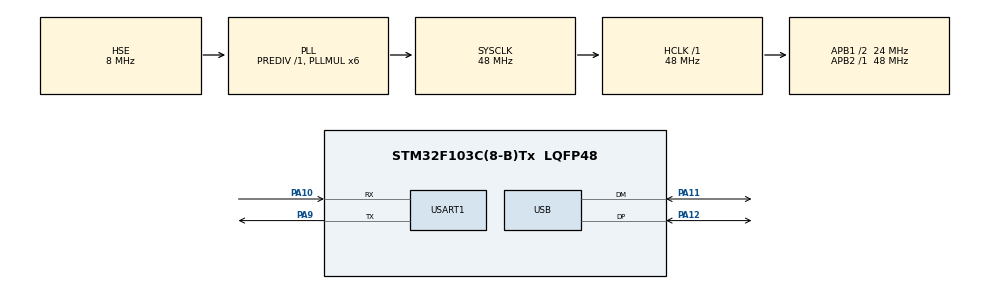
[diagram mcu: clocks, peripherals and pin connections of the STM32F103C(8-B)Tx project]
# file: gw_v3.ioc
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Mcu.Family=STM32F1
Mcu.Name=STM32F103C(8-B)Tx
Mcu.Package=LQFP48
NVIC.PriorityGroup=NVIC_PRIORITYGROUP_4
NVIC.TIM2_IRQn=true\:3\:0\:true\:false\:true\:true\:true\:true
NVIC.USART1_IRQn=true\:0\:0\:false\:false\:true\:true\:true\:true
NVIC.USB_LP_CAN1_RX0_IRQn=true\:0\:0\:false\:false\:true\:false\:true\:true
PA10.Mode=Asynchronous
PA10.Signal=USART1_RX
PA11.Mode=Device
PA11.Signal=USB_DM
PA12.Mode=Device
PA12.Signal=USB_DP
PA13.Mode=Serial_Wire
PA13.Signal=SYS_JTMS-SWDIO
PA14.Mode=Serial_Wire
PA14.Signal=SYS_JTCK-SWCLK
PA9.Mode=Asynchronous
PA9.Signal=USART1_TX
PD0-OSC_IN.Mode=HSE-External-Oscillator
PD0-OSC_IN.Signal=RCC_OSC_IN
PD1-OSC_OUT.Mode=HSE-External-Oscillator
PD1-OSC_OUT.Signal=RCC_OSC_OUT
ProjectManager.HeapSize=0x200
ProjectManager.StackSize=0x400
ProjectManager.TargetToolchain=STM32CubeIDE
RCC.AHBFreq_Value=48000000
RCC.APB1CLKDivider=RCC_HCLK_DIV2
RCC.APB1Freq_Value=24000000
RCC.APB1TimFreq_Value=48000000
RCC.APB2Freq_Value=48000000
RCC.APB2TimFreq_Value=48000000
RCC.HCLKFreq_Value=48000000
RCC.PLLMUL=RCC_PLL_MUL6
RCC.SYSCLKFreq_VALUE=48000000
RCC.SYSCLKSource=RCC_SYSCLKSOURCE_PLLCLK
RCC.USBFreq_Value=48000000
TIM2.Period=6000
TIM2.Prescaler=48000-1
USART1.VirtualMode=VM_ASYNC
USB_DEVICE.CLASS_NAME_FS=CDC
USB_DEVICE.VirtualMode=Cdc
USB_DEVICE.VirtualModeFS=Cdc_FS
VP_TIM2_VS_ClockSourceINT.Mode=Internal
VP_USB_DEVICE_VS_USB_DEVICE_CDC_FS.Mode=CDC_FS
board=custom

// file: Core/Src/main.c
/* USER CODE BEGIN Header */
/**
  ******************************************************************************
  * @file           : main.c
  * @brief          : Main program body
  ******************************************************************************
  * @attention
  *
  * Copyright (c) 2024 STMicroelectronics.
  * All rights reserved.
  *
  * This software is licensed under terms that can be found in the LICENSE file
  * in the root directory of this software component.
  * If no LICENSE file comes with this software, it is provided AS-IS.
  *
  ******************************************************************************
  */
/* USER CODE END Header */
#include "main.h"
#include "usb_device.h"

/* USER CODE BEGIN Includes */
#include "usbd_cdc_if.h"
#include "stdio.h"
#include "string.h"
#include <stdlib.h>
/* USER CODE END Includes */

/* USER CODE BEGIN PTD */
uint8_t *USB_data ;
uint8_t USB_rxbuffer[10];
uint8_t USB_txbuffer[40];

uint8_t RS_txBuffer[10];
uint8_t RS_rxBuffer[40];

uint8_t rs_temp[2];
uint8_t rs_inx=0;

typedef struct {
	uint8_t hour;
	uint8_t min;
	uint8_t sec;
	uint16_t CO_ppm;
	uint16_t CO2_ppm;
}PPM;

PPM ppm_data_1;
PPM ppm_data_2;
int time_data_n1;
int time_data_n2;
int receive_node_tong_flag=1;
int node_tong_to_node_1_error=0;
int node_tong_to_node_2_error=0;
int ppm2_time_temp;
int ppm1_time_temp;
/* USER CODE END PTD */

/* USER CODE BEGIN PM */
#define T3 6000
#define T2 3000
#define T1 1000
/* USER CODE END PM */

TIM_HandleTypeDef htim2;

UART_HandleTypeDef huart1;

/* USER CODE BEGIN PV */
uint8_t calculate_lrc(uint8_t *ascii_data, uint16_t length) {
    uint8_t lrc = 0;

    // Kiểm tra nếu chiều dài mảng là hợp lệ
    if (length < 2) {
        return 0;  // Trả về 0 nếu chiều dài không hợp lệ
    }

    // Mỗi byte nhị phân được biểu diễn bằng 2 ký tự ASCII
    for (uint16_t i = 0; i < length; i += 2) {
        // Chuyển đổi 2 ký tự ASCII thành 1 byte nhị phân
        char hex_byte[3] = {ascii_data[i], ascii_data[i + 1], '\0'};
        uint8_t byte_value = (uint8_t)strtol(hex_byte, NULL, 16);

        // Cộng giá trị vào tổng LRC
        lrc += byte_value;
    }

    // Lấy phần bù 2 (2's complement)
    lrc = (uint8_t)(-((int8_t)lrc));
    return lrc;
}

uint8_t check_lrc(uint8_t *ascii_data, uint16_t length, char* ascii_lrc)
{

    // Tính LRC từ dữ liệu
    uint8_t calculated_lrc = calculate_lrc(ascii_data, length);

    char hex_byte[3] = {ascii_lrc[0], ascii_lrc[1], '\0'};
    uint8_t received_lrc = (uint8_t)strtol(hex_byte, NULL, 16);

    // So sánh LRC tính toán và LRC nhận được
    if (calculated_lrc == received_lrc)
    {
    	return 1;
    }
    else
    	return 0;
}
// Mã hóa LRC thành chuỗi ASCII
void hexdec_to_ascii(uint8_t hexdec, char *ascii_out)
{
    sprintf(ascii_out, "%02X", hexdec); // Mã hóa thành 2 ký tự HEX ASCII
}
// Gửi lệnh tới Slave với địa chỉ ID
void RS485_SendCommand(uint8_t slaveID, uint8_t command)
{
	RS_txBuffer[0] = ':';
	hexdec_to_ascii(slaveID,(char*)&RS_txBuffer[1]);
	hexdec_to_ascii(command,(char*)&RS_txBuffer[3]);
	uint8_t lrc = calculate_lrc(&RS_txBuffer[1], 4);
	hexdec_to_ascii(lrc,(char*)&RS_txBuffer[5]);
	RS_txBuffer[7]=0x0D ;
	RS_txBuffer[8]=0x0A ;
    HAL_UART_Transmit(&huart1, RS_txBuffer, 10, HAL_MAX_DELAY);
}
void decode_ppm2_ver3 (char *RS_rxBuffer,PPM *ppm, uint8_t inx) // inx=5 (node1) inx=19(node2)
{
	char hour_buf[3] = {0}; // Lưu chuỗi th�?i gian
	char min_buf[3] = {0};
	char sec_buf[3] = {0};
	char co_high[3] = {0};   // Lưu chuỗi giá trị CO
	char co_low[3] = {0};   // Lưu chuỗi giá trị CO
	char co2_high[3] = {0};   // Lưu chuỗi giá trị CO
	char co2_low[3] = {0};  // Lưu chuỗi giá trị CO2
	uint16_t CO;
	uint16_t CO2;
	uint8_t ho;
	uint8_t mi;
	uint8_t se;
	// Tách chuỗi từ buffer
    hour_buf[0] = RS_rxBuffer[inx];
    hour_buf[1] = RS_rxBuffer[inx+1];
    hour_buf[2] = '\0';

    min_buf[0] = RS_rxBuffer[inx+2];
    min_buf[1] = RS_rxBuffer[inx+3];
    min_buf[2] = '\0';

    sec_buf[0] = RS_rxBuffer[inx+4];
    sec_buf[1] = RS_rxBuffer[inx+5];
    sec_buf[2] = '\0';

    co_high[0] = RS_rxBuffer[inx+6];
    co_high[1] = RS_rxBuffer[inx+7];
    co_high[2] = '\0';

    co_low[0] = RS_rxBuffer[inx+8];
    co_low[1] = RS_rxBuffer[inx+9];
    co_low[2] = '\0';

    co2_high[0] = RS_rxBuffer[inx+10];
    co2_high[1] = RS_rxBuffer[inx+11];
    co2_high[2] = '\0';

    co2_low[0] = RS_rxBuffer[inx+12];
    co2_low[1] = RS_rxBuffer[inx+13];
    co2_low[2] = '\0';

	ho = (uint8_t)strtol(hour_buf, NULL, 16);
	mi = (uint8_t)strtol(min_buf, NULL, 16);
	se = (uint8_t)strtol(sec_buf, NULL, 16);
	CO = ((uint8_t)(strtol(co_high, NULL, 16)) << 8) | ((uint8_t)(strtol(co_low, NULL, 16)));
	CO2 = ((uint8_t)(strtol(co2_high, NULL, 16)) << 8) | ((uint8_t)(strtol(co2_low, NULL, 16)));

	ppm->hour = ho;
    ppm->min = mi;
	ppm->sec = se;
	ppm->CO_ppm = CO;
    ppm->CO2_ppm = CO2;

}
void make_time(PPM *ppm, int *time_data)
{
	*time_data = (ppm->hour)*10000 + (ppm->min)*100 + (ppm->sec);
}
void USB_data_to_send()
{
	sprintf((char*)(&(USB_txbuffer[2])), "%02d%02d%02d%5d%5d%02d%02d%02d%5d%5d"
	,(int)ppm_data_1.hour, (int)ppm_data_1.min,(int) ppm_data_1.sec,(int) ppm_data_1.CO_ppm,ppm_data_1.CO2_ppm
	, (int)ppm_data_2.hour, (int)ppm_data_2.min, (int)ppm_data_2.sec, (int)ppm_data_2.CO_ppm, (int)ppm_data_2.CO2_ppm);
	USB_txbuffer[38]='\r';
	USB_txbuffer[39]='\n';
}
void USB_data_miss_to_send()
{
	char hour_buf1[3] = {0}; // Lưu chuỗi th�?i gian
	char min_buf1[3] = {0};
	char sec_buf1[3] = {0};
	char co_high1[3] = {0};   // Lưu chuỗi giá trị CO
	char co_low1[3] = {0};   // Lưu chuỗi giá trị CO
	char co2_high1[3] = {0};   // Lưu chuỗi giá trị CO
	char co2_low1[3] = {0};  // Lưu chuỗi giá trị CO2
	uint16_t CO1;
	uint16_t CO21;
	uint8_t ho1;
	uint8_t mi1;
	uint8_t se1;

	char hour_buf2[3] = {0}; // Lưu chuỗi th�?i gian
	char min_buf2[3] = {0};
	char sec_buf2[3] = {0};
	char co_high2[3] = {0};   // Lưu chuỗi giá trị CO
	char co_low2[3] = {0};   // Lưu chuỗi giá trị CO
	char co2_high2[3] = {0};   // Lưu chuỗi giá trị CO
	char co2_low2[3] = {0};  // Lưu chuỗi giá trị CO2
	uint16_t CO2;
	uint16_t CO22;
	uint8_t ho2;
	uint8_t mi2;
	uint8_t se2;

	// Tách chuỗi từ buffer
	hour_buf1[0] = RS_rxBuffer[5];
	hour_buf1[1] = RS_rxBuffer[5+1];
	hour_buf1[2] = '\0';

	min_buf1[0] = RS_rxBuffer[5+2];
	min_buf1[1] = RS_rxBuffer[5+3];
	min_buf1[2] = '\0';

	sec_buf1[0] = RS_rxBuffer[5+4];
	sec_buf1[1] = RS_rxBuffer[5+5];
	sec_buf1[2] = '\0';

	co_high1[0] = RS_rxBuffer[5+6];
	co_high1[1] = RS_rxBuffer[5+7];
	co_high1[2] = '\0';

	co_low1[0] = RS_rxBuffer[5+8];
	co_low1[1] = RS_rxBuffer[5+9];
	co_low1[2] = '\0';

	co2_high1[0] = RS_rxBuffer[5+10];
	co2_high1[1] = RS_rxBuffer[5+11];
	co2_high1[2] = '\0';

	co2_low1[0] = RS_rxBuffer[5+12];
	co2_low1[1] = RS_rxBuffer[5+13];
	co2_low1[2] = '\0';
// Tách chuỗi từ buffer
	hour_buf2[0] = RS_rxBuffer[19];
	hour_buf2[1] = RS_rxBuffer[19+1];
	hour_buf2[2] = '\0';

	min_buf2[0] = RS_rxBuffer[19+2];
	min_buf2[1] = RS_rxBuffer[19+3];
	min_buf2[2] = '\0';

	sec_buf2[0] = RS_rxBuffer[19+4];
	sec_buf2[1] = RS_rxBuffer[19+5];
	sec_buf2[2] = '\0';

	co_high2[0] = RS_rxBuffer[19+6];
	co_high2[1] = RS_rxBuffer[19+7];
	co_high2[2] = '\0';

	co_low2[0] = RS_rxBuffer[19+8];
	co_low2[1] = RS_rxBuffer[19+9];
	co_low2[2] = '\0';

	co2_high2[0] = RS_rxBuffer[19+10];
	co2_high2[1] = RS_rxBuffer[19+11];
	co2_high2[2] = '\0';

	co2_low2[0] = RS_rxBuffer[19+12];
	co2_low2[1] = RS_rxBuffer[19+13];
	co2_low2[2] = '\0';
	ho1 = (uint8_t)strtol(hour_buf1, NULL, 16);
	mi1 = (uint8_t)strtol(min_buf1, NULL, 16);
	se1 = (uint8_t)strtol(sec_buf1, NULL, 16);
	CO1 = ((uint8_t)(strtol(co_high1, NULL, 16)) << 8) | ((uint8_t)(strtol(co_low1, NULL, 16)));
	CO21 = ((uint8_t)(strtol(co2_high1, NULL, 16)) << 8) | ((uint8_t)(strtol(co2_low1, NULL, 16)));

	ho2 = (uint8_t)strtol(hour_buf2, NULL, 16);
	mi2 = (uint8_t)strtol(min_buf2, NULL, 16);
	se2 = (uint8_t)strtol(sec_buf2, NULL, 16);
	CO2 = ((uint8_t)(strtol(co_high2, NULL, 16)) << 8) | ((uint8_t)(strtol(co_low2, NULL, 16)));
	CO22 = ((uint8_t)(strtol(co2_high2, NULL, 16)) << 8) | ((uint8_t)(strtol(co2_low2, NULL, 16)));

	sprintf((char*)(&(USB_txbuffer[2])), "%02d%02d%02d%5d%5d%02d%02d%02d%5d%5d"
	,(int)ho1, (int)mi1,(int)se1,(int) CO1,CO21
	, (int)ho2, (int)mi2, (int)se2, (int)CO2, (int)CO22);
	USB_txbuffer[38]='\r';
	USB_txbuffer[39]='\n';

}
int check_disconnected (int node)
{
	if(node==1)
	{
		if(time_data_n1 -ppm1_time_temp ==0)
		{
			return 0;
		}
		else
		{
			return 1;
		}
	}
	else
	{
		if(time_data_n2 - ppm2_time_temp ==0)
		{
			return 0;
		}
		else
		{
			return 1;
		}
	}
}
void Change_Time_Read_Data()
{
	if(ppm_data_1.CO2_ppm <=1000 && ppm_data_1.CO_ppm <=25 && ppm_data_2.CO2_ppm <=1000 && ppm_data_2.CO_ppm <=25)
	{
    	HAL_TIM_Base_Stop_IT(&htim2);                  // Dừng timer
    	__HAL_TIM_SET_AUTORELOAD(&htim2, T3);     // Cập nhật chu kỳ
    	HAL_TIM_Base_Start_IT(&htim2);                 // Khởi động lại timer
	}
	else if(ppm_data_1.CO2_ppm >=2000 || ppm_data_1.CO_ppm >=50 || ppm_data_2.CO2_ppm >=2000 || ppm_data_2.CO_ppm >=50)
	{
    	HAL_TIM_Base_Stop_IT(&htim2);                  // Dừng timer
    	__HAL_TIM_SET_AUTORELOAD(&htim2, T1);     // Cập nhật chu kỳ
    	HAL_TIM_Base_Start_IT(&htim2);                 // Khởi động lại timer
	}
	else
	{
    	HAL_TIM_Base_Stop_IT(&htim2);                  // Dừng timer
    	__HAL_TIM_SET_AUTORELOAD(&htim2, T2);     // Cập nhật chu kỳ
    	HAL_TIM_Base_Start_IT(&htim2);                 // Khởi động lại timer
	}
}
// gửi lệnh đ�?c v�? node đo theo th�?i gian
void HAL_TIM_PeriodElapsedCallback(TIM_HandleTypeDef *htim)
{
    if (htim->Instance == TIM2)  // Kiểm tra nếu ngắt từ Timer 2
    {
    	if(receive_node_tong_flag==1)
    	{
			if(node_tong_to_node_1_error==1 && node_tong_to_node_2_error==0)
			{
				RS485_SendCommand(0x11, 0x21);  // Gửi lệnh 0x21 tới
				receive_node_tong_flag=0;
			}
			else if (node_tong_to_node_1_error==0 && node_tong_to_node_2_error==1)
			{
				RS485_SendCommand(0x11, 0x22);  // Gửi lệnh "22" tới
				receive_node_tong_flag=0;
			}
			else if (node_tong_to_node_1_error==1 && node_tong_to_node_2_error==1)
			{
				RS485_SendCommand(0x11, 0x23);  // Gửi lệnh "23" tới
				receive_node_tong_flag=0;
			}
			else
			{
				RS485_SendCommand(0x11, 0x02);  // Gửi lệnh "02" tới
				receive_node_tong_flag=0;
			}
    	}
    	else if(receive_node_tong_flag==0) // mất kết nối với node tổng
		{
        	RS485_SendCommand(0x11, 0x03);  // Gửi lệnh "03"
        	receive_node_tong_flag=0;
		}
    }
}

void HAL_UART_RxCpltCallback(UART_HandleTypeDef *huart)
{
	// Nhận dữ liệu từ node tổng
    if (huart->Instance == USART1)
    {
       	// nhận chuỗi từ : đến \n
    	if(rs_temp[0] != '\n')
    	{
    		if(rs_temp[0]==':')
    		{
    			RS_rxBuffer[0]=rs_temp[0];
    			rs_inx=1;
    		}
    		else
    		{
    			RS_rxBuffer[rs_inx++]=rs_temp[0];
    		}
    	}
    	else
    	{
    	RS_rxBuffer[rs_inx++]='\n';
    	if(check_lrc(&RS_rxBuffer[1],32,(char*)&RS_rxBuffer[33]) == 1)
    	{
    	 if (RS_rxBuffer[1] == '1' && RS_rxBuffer[2] == '1')
		 { // Kiểm tra địa chỉ
			receive_node_tong_flag=1; // c�? nhận được dữ liệu từ node tong
			if (RS_rxBuffer[3] == '0' && RS_rxBuffer[4] == '2')
			{
				HAL_TIM_Base_Start_IT(&htim2);
				ppm1_time_temp= time_data_n1;
				ppm2_time_temp=time_data_n2;
				decode_ppm2_ver3((char*)RS_rxBuffer, &ppm_data_1, 5);
				decode_ppm2_ver3((char*)RS_rxBuffer, &ppm_data_2, 19);
				Change_Time_Read_Data();
				USB_data_to_send();
				CDC_Transmit_FS(USB_txbuffer, 40); // gui qua USB
				make_time(&ppm_data_1, &time_data_n1);
				make_time(&ppm_data_2, &time_data_n2);
				if(check_disconnected (1)==0 && ppm1_time_temp!=0) // ppm1_time_temp khác 0 mới lỗi vì khi gửi các chuỗi của node 1 thì các số liệu node 2=0 hết
				{
  					node_tong_to_node_1_error =1;
				}
				else
				{
					node_tong_to_node_1_error=0;
				}
				if(check_disconnected (2)==0 && ppm2_time_temp!=0)
				{
					node_tong_to_node_2_error =1;
				}
				else
				{
					node_tong_to_node_2_error=0;
				}
				// Dữ liệu phải cập nhật (tức là không có lỗi đươgnf truyền từ node đo lên node tổng) thì mới gửi AA
				if((check_disconnected (1)==1 || ppm1_time_temp==0) && (check_disconnected (2)==1 || ppm2_time_temp==0))  // 1 trong 2 đúng ( cập nhật)
				{
					RS485_SendCommand(0x11, 0xAA);
				}
        	 }
        	 else if(RS_rxBuffer[3] == '0' && RS_rxBuffer[4] == '3') // nhan nhieu du lieu
        	 {
        		 HAL_TIM_Base_Stop_IT(&htim2);
        		 USB_data_miss_to_send();
				CDC_Transmit_FS(USB_txbuffer, 40); // gui qua USB
         		RS485_SendCommand(0x11, 0xBB); // gui ve node do la da luu thanh cong
        	 }
        	 else if(RS_rxBuffer[3] == '2' && RS_rxBuffer[4] == '1')
        	 {
        		 HAL_TIM_Base_Stop_IT(&htim2);
        		 USB_data_miss_to_send();
				CDC_Transmit_FS(USB_txbuffer, 40); // gui qua USB
        		 RS485_SendCommand(0x11, 0xCC); // gui ve node do la da gui thanh cong 1 chuoi de con gui tiep
        	 }
        	 else if(RS_rxBuffer[3] == '2' && RS_rxBuffer[4] == '2')
        	 {
        		 HAL_TIM_Base_Stop_IT(&htim2);
        		 USB_data_miss_to_send();
				CDC_Transmit_FS(USB_txbuffer,40 ); // gui qua USB
        		 RS485_SendCommand(0x11, 0xDD); // gui ve node do la da gui thanh cong 1 chuoi de con gui tiep
        	 }
        	 else if(RS_rxBuffer[3] == '2' && RS_rxBuffer[4] == '3')
        	 {
        		 HAL_TIM_Base_Stop_IT(&htim2);
        		 USB_data_miss_to_send();
				CDC_Transmit_FS(USB_txbuffer,40 ); // gui qua USB
        		 RS485_SendCommand(0x11, 0xDD); // gui ve node do la da gui thanh cong 1 chuoi de con gui tiep
        	 }
           }
    	}
 		rs_inx=0;
 		memset(RS_rxBuffer,0,sizeof(RS_rxBuffer));
     }
        // Tiếp tục nhận
        HAL_UART_Receive_IT(&huart1,rs_temp, 1);
    }
}

/* USER CODE END PV */

void SystemClock_Config(void);
static void MX_GPIO_Init(void);
static void MX_USART1_UART_Init(void);
static void MX_TIM2_Init(void);

int main(void)
{

  /* MCU Configuration--------------------------------------------------------*/

  /* Reset of all peripherals, Initializes the Flash interface and the Systick. */
  HAL_Init();

  /* Configure the system clock */
  SystemClock_Config();

  /* Initialize all configured peripherals */
  MX_GPIO_Init();
  MX_USART1_UART_Init();
  MX_USB_DEVICE_Init();
  MX_TIM2_Init();
  /* USER CODE BEGIN 2 */
  HAL_UART_Receive_IT(&huart1, rs_temp, 1); // nhận dữ liệu từ node đo
  HAL_TIM_Base_Start_IT(&htim2);
  /* USER CODE END 2 */

  /* Infinite loop */
  while (1)
  {

  }
}

void SystemClock_Config(void)
{
  RCC_OscInitTypeDef RCC_OscInitStruct = {0};
  RCC_ClkInitTypeDef RCC_ClkInitStruct = {0};
  RCC_PeriphCLKInitTypeDef PeriphClkInit = {0};

  /** Initializes the RCC Oscillators according to the specified parameters
  * in the RCC_OscInitTypeDef structure.
  */
  RCC_OscInitStruct.OscillatorType = RCC_OSCILLATORTYPE_HSE;
  RCC_OscInitStruct.HSEState = RCC_HSE_ON;
  RCC_OscInitStruct.HSEPredivValue = RCC_HSE_PREDIV_DIV1;
  RCC_OscInitStruct.HSIState = RCC_HSI_ON;
  RCC_OscInitStruct.PLL.PLLState = RCC_PLL_ON;
  RCC_OscInitStruct.PLL.PLLSource = RCC_PLLSOURCE_HSE;
  RCC_OscInitStruct.PLL.PLLMUL = RCC_PLL_MUL6;
  if (HAL_RCC_OscConfig(&RCC_OscInitStruct) != HAL_OK)
  {
    Error_Handler();
  }

  /** Initializes the CPU, AHB and APB buses clocks
  */
  RCC_ClkInitStruct.ClockType = RCC_CLOCKTYPE_HCLK|RCC_CLOCKTYPE_SYSCLK
                              |RCC_CLOCKTYPE_PCLK1|RCC_CLOCKTYPE_PCLK2;
  RCC_ClkInitStruct.SYSCLKSource = RCC_SYSCLKSOURCE_PLLCLK;
  RCC_ClkInitStruct.AHBCLKDivider = RCC_SYSCLK_DIV1;
  RCC_ClkInitStruct.APB1CLKDivider = RCC_HCLK_DIV2;
  RCC_ClkInitStruct.APB2CLKDivider = RCC_HCLK_DIV1;

  if (HAL_RCC_ClockConfig(&RCC_ClkInitStruct, FLASH_LATENCY_1) != HAL_OK)
  {
    Error_Handler();
  }
  PeriphClkInit.PeriphClockSelection = RCC_PERIPHCLK_USB;
  PeriphClkInit.UsbClockSelection = RCC_USBCLKSOURCE_PLL;
  if (HAL_RCCEx_PeriphCLKConfig(&PeriphClkInit) != HAL_OK)
  {
    Error_Handler();
  }
}

static void MX_TIM2_Init(void)
{

  TIM_ClockConfigTypeDef sClockSourceConfig = {0};
  TIM_MasterConfigTypeDef sMasterConfig = {0};

  htim2.Instance = TIM2;
  htim2.Init.Prescaler = 48000-1;
  htim2.Init.CounterMode = TIM_COUNTERMODE_UP;
  htim2.Init.Period = 6000;
  htim2.Init.ClockDivision = TIM_CLOCKDIVISION_DIV1;
  htim2.Init.AutoReloadPreload = TIM_AUTORELOAD_PRELOAD_DISABLE;
  if (HAL_TIM_Base_Init(&htim2) != HAL_OK)
  {
    Error_Handler();
  }
  sClockSourceConfig.ClockSource = TIM_CLOCKSOURCE_INTERNAL;
  if (HAL_TIM_ConfigClockSource(&htim2, &sClockSourceConfig) != HAL_OK)
  {
    Error_Handler();
  }
  sMasterConfig.MasterOutputTrigger = TIM_TRGO_RESET;
  sMasterConfig.MasterSlaveMode = TIM_MASTERSLAVEMODE_DISABLE;
  if (HAL_TIMEx_MasterConfigSynchronization(&htim2, &sMasterConfig) != HAL_OK)
  {
    Error_Handler();
  }

}

static void MX_USART1_UART_Init(void)
{

  huart1.Instance = USART1;
  huart1.Init.BaudRate = 115200;
  huart1.Init.WordLength = UART_WORDLENGTH_8B;
  huart1.Init.StopBits = UART_STOPBITS_1;
  huart1.Init.Parity = UART_PARITY_NONE;
  huart1.Init.Mode = UART_MODE_TX_RX;
  huart1.Init.HwFlowCtl = UART_HWCONTROL_NONE;
  huart1.Init.OverSampling = UART_OVERSAMPLING_16;
  if (HAL_UART_Init(&huart1) != HAL_OK)
  {
    Error_Handler();
  }

}

static void MX_GPIO_Init(void)
{

  /* GPIO Ports Clock Enable */
  __HAL_RCC_GPIOD_CLK_ENABLE();
  __HAL_RCC_GPIOA_CLK_ENABLE();

}

void Error_Handler(void)
{
  __disable_irq();
  while (1)
  {
  }
}
